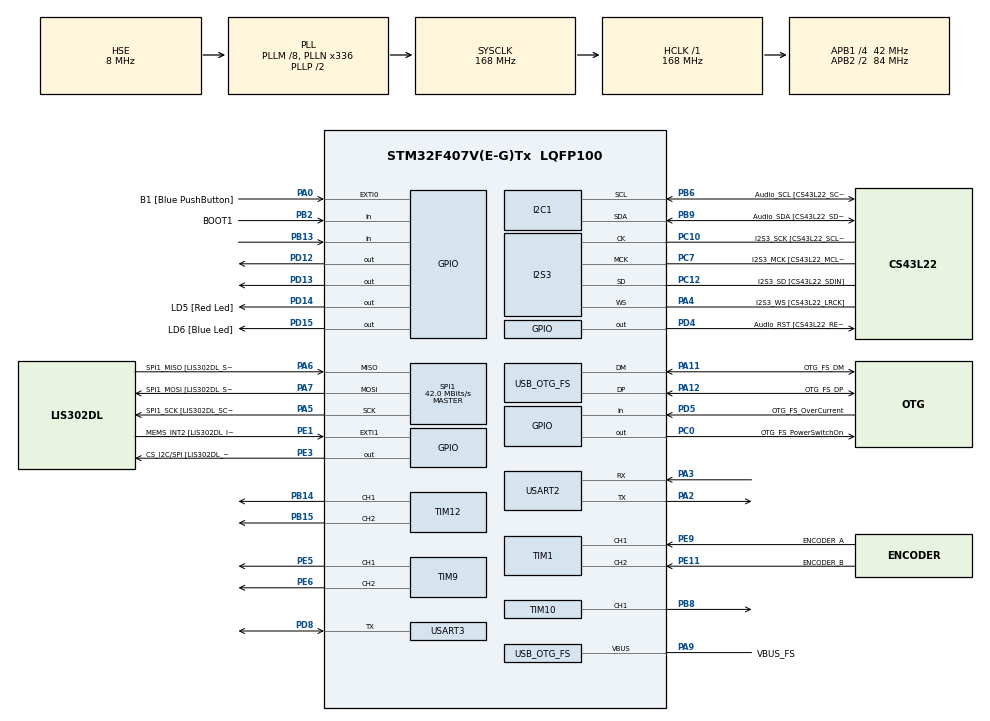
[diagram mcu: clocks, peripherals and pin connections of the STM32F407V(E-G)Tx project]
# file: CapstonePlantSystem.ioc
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I2S3.AudioFreq-Half_Duplex_Master=I2S_AUDIOFREQ_96K
I2S3.ErrorAudioFreq=-2.34 %
I2S3.ErrorAudioFreq-Half_Duplex_Master=0.8 %
I2S3.FullDuplexMode=I2S_FULLDUPLEXMODE_DISABLE
I2S3.Instance=SPI$Index
I2S3.RealAudioFreq=93.75 KHz
I2S3.RealAudioFreq-Half_Duplex_Master=96.774 KHz
I2S3.VirtualMode=I2S_MODE_MASTER
Mcu.Family=STM32F4
Mcu.Name=STM32F407V(E-G)Tx
Mcu.Package=LQFP100
NVIC.OTG_FS_IRQn=true\:0\:0\:false\:false\:true\:true\:true\:true
NVIC.PriorityGroup=NVIC_PRIORITYGROUP_0
NVIC.TIM3_IRQn=true\:0\:0\:false\:false\:true\:true\:true\:true
PA0-WKUP.GPIO_Label=B1 [Blue PushButton]
PA0-WKUP.GPIO_ModeDefaultEXTI=GPIO_MODE_EVT_RISING
PA0-WKUP.GPIO_PuPd=GPIO_NOPULL
PA0-WKUP.Signal=GPXTI0
PA10.GPIO_Label=OTG_FS_ID
PA10.GPIO_Mode=GPIO_MODE_AF_PP
PA10.GPIO_PuPd=GPIO_NOPULL
PA10.GPIO_Speed=GPIO_SPEED_FREQ_LOW
PA10.Signal=USB_OTG_FS_ID
PA11.GPIO_Label=OTG_FS_DM
PA11.GPIO_Mode=GPIO_MODE_AF_PP
PA11.GPIO_PuPd=GPIO_NOPULL
PA11.GPIO_Speed=GPIO_SPEED_FREQ_LOW
PA11.Mode=Host_Only
PA11.Signal=USB_OTG_FS_DM
PA12.GPIO_Label=OTG_FS_DP
PA12.GPIO_Mode=GPIO_MODE_AF_PP
PA12.GPIO_PuPd=GPIO_NOPULL
PA12.GPIO_Speed=GPIO_SPEED_FREQ_LOW
PA12.Mode=Host_Only
PA12.Signal=USB_OTG_FS_DP
PA13.GPIO_Label=SWDIO
PA13.Mode=Serial_Wire
PA13.Signal=SYS_JTMS-SWDIO
PA14.GPIO_Label=SWCLK
PA14.Mode=Serial_Wire
PA14.Signal=SYS_JTCK-SWCLK
PA2.Mode=Asynchronous
PA2.Signal=USART2_TX
PA3.Mode=Asynchronous
PA3.Signal=USART2_RX
PA4.GPIO_Label=I2S3_WS [CS43L22_LRCK]
PA4.GPIO_Mode=GPIO_MODE_AF_PP
PA4.GPIO_PuPd=GPIO_NOPULL
PA4.GPIO_Speed=GPIO_SPEED_FREQ_LOW
PA4.Mode=Half_Duplex_Master
PA4.Signal=I2S3_WS
PA5.GPIO_Label=SPI1_SCK [LIS302DL_SCL/SPC]
PA5.GPIO_Mode=GPIO_MODE_AF_PP
PA5.GPIO_PuPd=GPIO_NOPULL
PA5.GPIO_Speed=GPIO_SPEED_FREQ_LOW
PA5.Mode=Full_Duplex_Master
PA5.Signal=SPI1_SCK
PA6.GPIO_Label=SPI1_MISO [LIS302DL_SDO]
PA6.GPIO_Mode=GPIO_MODE_AF_PP
PA6.GPIO_PuPd=GPIO_NOPULL
PA6.GPIO_Speed=GPIO_SPEED_FREQ_LOW
PA6.Mode=Full_Duplex_Master
PA6.Signal=SPI1_MISO
PA7.GPIO_Label=SPI1_MOSI [LIS302DL_SDA/SDI/SDO]
PA7.GPIO_Mode=GPIO_MODE_AF_PP
PA7.GPIO_PuPd=GPIO_NOPULL
PA7.GPIO_Speed=GPIO_SPEED_FREQ_LOW
PA7.Mode=Full_Duplex_Master
PA7.Signal=SPI1_MOSI
PA9.GPIO_Label=VBUS_FS
PA9.GPIO_Mode=GPIO_MODE_INPUT
PA9.GPIO_PuPd=GPIO_NOPULL
PA9.Mode=Activate_VBUS
PA9.Signal=USB_OTG_FS_VBUS
PB10.GPIO_Label=CLK_IN [MP45DT02_CLK]
PB10.GPIO_Mode=GPIO_MODE_AF_PP
PB10.GPIO_PuPd=GPIO_NOPULL
PB10.GPIO_Speed=GPIO_SPEED_FREQ_LOW
PB10.Signal=I2S2_CK
PB13.Signal=GPIO_Input
PB14.Signal=S_TIM12_CH1
PB15.Signal=S_TIM12_CH2
PB2.GPIO_Label=BOOT1
PB2.GPIO_Mode=GPIO_MODE_INPUT
PB2.GPIO_PuPd=GPIO_NOPULL
PB2.Signal=GPIO_Input
PB3.GPIO_Label=SWO
PB3.Signal=SYS_JTDO-SWO
PB6.GPIO_Label=Audio_SCL [CS43L22_SCL]
PB6.GPIO_Mode=GPIO_MODE_AF_OD
PB6.GPIO_Pu=GPIO_PULLUP
PB6.GPIO_PuPd=GPIO_NOPULL
PB6.GPIO_Speed=GPIO_SPEED_FREQ_LOW
PB6.Mode=I2C
PB6.Signal=I2C1_SCL
PB8.Signal=S_TIM10_CH1
PB9.GPIO_Label=Audio_SDA [CS43L22_SDA]
PB9.GPIO_Mode=GPIO_MODE_AF_OD
PB9.GPIO_Pu=GPIO_PULLUP
PB9.GPIO_PuPd=GPIO_NOPULL
PB9.GPIO_Speed=GPIO_SPEED_FREQ_LOW
PB9.Mode=I2C
PB9.Signal=I2C1_SDA
PC0.GPIO_Label=OTG_FS_PowerSwitchOn
PC0.GPIO_PuPd=GPIO_NOPULL
PC0.GPIO_Speed=GPIO_SPEED_FREQ_LOW
PC0.PinState=GPIO_PIN_SET
PC0.Signal=GPIO_Output
PC10.GPIO_Label=I2S3_SCK [CS43L22_SCLK]
PC10.GPIO_Mode=GPIO_MODE_AF_PP
PC10.GPIO_PuPd=GPIO_NOPULL
PC10.GPIO_Speed=GPIO_SPEED_FREQ_LOW
PC10.Mode=Half_Duplex_Master
PC10.Signal=I2S3_CK
PC12.GPIO_Label=I2S3_SD [CS43L22_SDIN]
PC12.GPIO_Mode=GPIO_MODE_AF_PP
PC12.GPIO_PuPd=GPIO_NOPULL
PC12.GPIO_Speed=GPIO_SPEED_FREQ_LOW
PC12.Mode=Half_Duplex_Master
PC12.Signal=I2S3_SD
PC14-OSC32_IN.GPIO_Label=PC14-OSC32_IN
PC14-OSC32_IN.Mode=LSE-External-Oscillator
PC14-OSC32_IN.Signal=RCC_OSC32_IN
PC15-OSC32_OUT.GPIO_Label=PC15-OSC32_OUT
PC15-OSC32_OUT.Mode=LSE-External-Oscillator
PC15-OSC32_OUT.Signal=RCC_OSC32_OUT
PC3.GPIO_Label=PDM_OUT [MP45DT02_DOUT]
PC3.GPIO_Mode=GPIO_MODE_AF_PP
PC3.GPIO_PuPd=GPIO_NOPULL
PC3.GPIO_Speed=GPIO_SPEED_FREQ_LOW
PC3.Signal=I2S2_SD
PC7.GPIO_Label=I2S3_MCK [CS43L22_MCLK]
PC7.GPIO_Mode=GPIO_MODE_AF_PP
PC7.GPIO_PuPd=GPIO_NOPULL
PC7.GPIO_Speed=GPIO_SPEED_FREQ_LOW
PC7.Mode=Master_Clock_Activated
PC7.Signal=I2S3_MCK
PD12.GPIO_Speed=GPIO_SPEED_FREQ_LOW
PD12.PinState=GPIO_PIN_RESET
PD12.Signal=GPIO_Output
PD13.PinState=GPIO_PIN_RESET
PD13.Signal=GPIO_Output
PD14.GPIO_Label=LD5 [Red Led]
PD14.GPIO_PuPd=GPIO_NOPULL
PD14.GPIO_Speed=GPIO_SPEED_FREQ_LOW
PD14.Signal=GPIO_Output
PD15.GPIO_Label=LD6 [Blue Led]
PD15.GPIO_PuPd=GPIO_NOPULL
PD15.GPIO_Speed=GPIO_SPEED_FREQ_LOW
PD15.Signal=GPIO_Output
PD4.GPIO_Label=Audio_RST [CS43L22_RESET]
PD4.GPIO_PuPd=GPIO_NOPULL
PD4.GPIO_Speed=GPIO_SPEED_FREQ_LOW
PD4.Signal=GPIO_Output
PD5.GPIO_Label=OTG_FS_OverCurrent
PD5.GPIO_Mode=GPIO_MODE_INPUT
PD5.GPIO_PuPd=GPIO_NOPULL
PD5.Signal=GPIO_Input
PD8.Mode=Half_duplex(single_wire_mode)
PD8.Signal=USART3_TX
PE1.GPIO_Label=MEMS_INT2 [LIS302DL_INT2]
PE1.GPIO_ModeDefaultEXTI=GPIO_MODE_EVT_RISING
PE1.GPIO_PuPd=GPIO_NOPULL
PE1.Signal=GPXTI1
PE11.GPIO_Label=ENCODER_B
PE11.GPIO_Speed=GPIO_SPEED_FREQ_VERY_HIGH
PE11.Signal=S_TIM1_CH2
PE3.GPIO_Label=CS_I2C/SPI [LIS302DL_CS_I2C/SPI]
PE3.GPIO_PuPd=GPIO_NOPULL
PE3.GPIO_Speed=GPIO_SPEED_FREQ_LOW
PE3.Signal=GPIO_Output
PE5.Signal=S_TIM9_CH1
PE6.Signal=S_TIM9_CH2
PE9.GPIO_Label=ENCODER_A
PE9.GPIO_Speed=GPIO_SPEED_FREQ_VERY_HIGH
PE9.Signal=S_TIM1_CH1
PH0-OSC_IN.GPIO_Label=PH0-OSC_IN
PH0-OSC_IN.Mode=HSE-External-Oscillator
PH0-OSC_IN.Signal=RCC_OSC_IN
PH1-OSC_OUT.GPIO_Label=PH1-OSC_OUT
PH1-OSC_OUT.Mode=HSE-External-Oscillator
PH1-OSC_OUT.Signal=RCC_OSC_OUT
ProjectManager.HeapSize=0x200
ProjectManager.StackSize=0x400
ProjectManager.TargetToolchain=STM32CubeIDE
RCC.48MHZClocksFreq_Value=48000000
RCC.AHBFreq_Value=168000000
RCC.APB1CLKDivider=RCC_HCLK_DIV4
RCC.APB1Freq_Value=42000000
RCC.APB1TimFreq_Value=84000000
RCC.APB2CLKDivider=RCC_HCLK_DIV2
RCC.APB2Freq_Value=84000000
RCC.APB2TimFreq_Value=168000000
RCC.CortexFreq_Value=168000000
RCC.HCLKFreq_Value=168000000
RCC.HSE_VALUE=8000000
RCC.HSI_VALUE=16000000
RCC.PLLM=8
RCC.PLLN=336
RCC.PLLQ=7
RCC.SYSCLKFreq_VALUE=168000000
RCC.SYSCLKSource=RCC_SYSCLKSOURCE_PLLCLK
RCC.VCOOutputFreq_Value=336000000
SH.S_TIM10_CH1.0=TIM10_CH1,PWM Generation1 CH1
SH.S_TIM12_CH1.0=TIM12_CH1,PWM Generation1 CH1
SH.S_TIM12_CH2.0=TIM12_CH2,PWM Generation2 CH2
SH.S_TIM1_CH1.0=TIM1_CH1,Encoder_Interface
SH.S_TIM1_CH2.0=TIM1_CH2,Encoder_Interface
SH.S_TIM9_CH1.0=TIM9_CH1,PWM Generation1 CH1
SH.S_TIM9_CH2.0=TIM9_CH2,PWM Generation2 CH2
SPI1.CalculateBaudRate=42.0 MBits/s
SPI1.Direction=SPI_DIRECTION_2LINES
SPI1.Mode=SPI_MODE_MASTER
SPI1.VirtualType=VM_MASTER
TIM1.AutoReloadPreload=TIM_AUTORELOAD_PRELOAD_ENABLE
TIM1.EncoderMode=TIM_ENCODERMODE_TI12
TIM1.IC1Filter=10
TIM1.IC2Filter=10
TIM10.Channel=TIM_CHANNEL_1
TIM12.Channel-PWM\ Generation1\ CH1=TIM_CHANNEL_1
TIM12.Channel-PWM\ Generation2\ CH2=TIM_CHANNEL_2
TIM3.Period=99
TIM3.Prescaler=8399
TIM9.Channel-PWM\ Generation1\ CH1=TIM_CHANNEL_1
TIM9.Channel-PWM\ Generation2\ CH2=TIM_CHANNEL_2
USART2.VirtualMode=VM_ASYNC
USART3.VirtualMode=VM_ASYNC
USB_HOST.BSP.number=1
USB_HOST.USBH_HandleTypeDef-CDC_FS=hUsbHostFS
USB_HOST.VirtualModeFS=Cdc
USB_HOST0.BSP.STBoard=false
USB_HOST0.BSP.api=Unknown
USB_HOST0.BSP.instance=PC0
USB_HOST0.BSP.ip=GPIO
USB_HOST0.BSP.mode=Output
USB_HOST0.BSP.name=Drive_VBUS_FS
USB_HOST0.BSP.solution=PC0
USB_OTG_FS.VirtualMode=Host_Only
USB_OTG_FS.phy_itface=HCD_PHY_EMBEDDED
VP_TIM10_VS_ClockSourceINT.Mode=Enable_Timer
VP_TIM3_VS_ClockSourceITR.Mode=TriggerSource_ITR0
VP_TIM3_VS_ControllerModeClock.Mode=Clock Mode
VP_USB_HOST_VS_USB_HOST_CDC_FS.Mode=CDC_FS
board=STM32F407G-DISC1

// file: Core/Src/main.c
/* USER CODE BEGIN Header */
/**
  ******************************************************************************
  * @file           : main.c
  * @brief          : Main program body
  ******************************************************************************
  * @attention
  *
  * Copyright (c) 2025 STMicroelectronics.
  * All rights reserved.
  *
  * This software is licensed under terms that can be found in the LICENSE file
  * in the root directory of this software component.
  * If no LICENSE file comes with this software, it is provided AS-IS.
  *
  ******************************************************************************
  */
/* USER CODE END Header */
#include "main.h"
#include "usb_host.h"

/* USER CODE BEGIN Includes */
#include <stdio.h>
#include <string.h>
#include <math.h>
#include "tmc2209.h"
/* USER CODE END Includes */

I2C_HandleTypeDef hi2c1;

I2S_HandleTypeDef hi2s3;

SPI_HandleTypeDef hspi1;

TIM_HandleTypeDef htim1;
TIM_HandleTypeDef htim3;
TIM_HandleTypeDef htim9;
TIM_HandleTypeDef htim10;
TIM_HandleTypeDef htim12;

UART_HandleTypeDef huart2;
UART_HandleTypeDef huart3;

/* USER CODE BEGIN PV */
#define WHEEL_RADIUS_CM 30.0
#define GEAR_RATIO 30.0
#define ENCODER_PULSES_PER_REVOLUTION 330.0
#define TARGET_DISTANCE_CM 400.0 // 4 meters in cm

#define STEPS_PER_REV        200     // Motor full steps per rev
#define MICROSTEPPING        16      // Set in CHOPCONF
#define LEADSCREW_PITCH_MM   2.0f    // mm per revolution
#define STEPS_PER_MM  ((STEPS_PER_REV * MICROSTEPPING) / LEADSCREW_PITCH_MM)

#define DIR_PORT             GPIOD
#define DIR_PIN              GPIO_PIN_13

#define STEP_PULSE_FREQ_HZ   1000    // 1 kHz = 1000 steps/sec
#define MOTOR2_DEFAULT_OFFSET 0    // Adjust this based on your motor characteristics
#define MAX_SPEED_OFFSET 20        // Maximum allowed offset to prevent extreme differences

typedef enum {
    STATE_DC_FORWARD,
    STATE_STEPPER_DOWN_UP,
    STATE_DC_BACKWARD,
    STATE_STEPPER_RETURN
} SystemState;

SystemState currentState = STATE_DC_FORWARD;
uint32_t stepper_start_time = 0;
uint8_t stepper_running = 0;

typedef enum {
    STEPPER_IDLE,
    STEPPER_MOVING_DOWN,
    STEPPER_MOVING_UP
} StepperPhase;

StepperPhase stepperPhase = STEPPER_IDLE;

uint8_t motor1_speed = 0;
uint8_t motor2_speed = 0;
uint8_t motor1_direction = 0;
uint8_t motor2_direction = 0;
int8_t motor2_offset = 0;  // Speed offset for motor 2 (-100 to +100)

/* USER CODE END PV */

void SystemClock_Config(void);
static void MX_GPIO_Init(void);
static void MX_I2C1_Init(void);
static void MX_I2S3_Init(void);
static void MX_USART2_UART_Init(void);
static void MX_TIM3_Init(void);
static void MX_SPI1_Init(void);
static void MX_TIM1_Init(void);
static void MX_TIM9_Init(void);
static void MX_USART3_UART_Init(void);
static void MX_TIM10_Init(void);
static void MX_TIM12_Init(void);
void MX_USB_HOST_Process(void);

/* USER CODE BEGIN PFP */
void Encoder_Init(void);
int32_t Encoder_GetPosition(void);
void Encoder_ResetPosition(void);
float CalculateTravelDistance(int32_t encoderCounts);
void Motor_PWM_Init(void);
// Enhanced motor control functions with offset
void Motor1_SetSpeedAndDirection(uint8_t speed, uint8_t direction);
void Motor2_SetSpeedAndDirection(uint8_t speed, uint8_t direction);
void Motors_SetSynchronizedSpeed(uint8_t speed, uint8_t direction);
void Motors_SetSynchronizedSpeedWithOffset(uint8_t base_speed, uint8_t direction, int8_t motor2_offset);
void Motors_SetMotor2Offset(int8_t offset);
void Motors_Init(void);
void Motors_EmergencyStop(void);
void Motors_PrintStatus(void);

void Stepper_Init(void);
void Stepper_SetDirection(uint8_t dir);
void Stepper_Start(uint32_t duration_ms);

void Stepper_Update();

//void Stepper_MoveDistance_mm(float mm);

/* USER CODE END PFP */

int main(void)
{

  /* MCU Configuration--------------------------------------------------------*/

  /* Reset of all peripherals, Initializes the Flash interface and the Systick. */
  HAL_Init();

  /* Configure the system clock */
  SystemClock_Config();

  /* Initialize all configured peripherals */
  MX_GPIO_Init();
  MX_I2C1_Init();
  MX_I2S3_Init();
  MX_USB_HOST_Init();
  MX_USART2_UART_Init();
  MX_TIM3_Init();
  MX_SPI1_Init();
  MX_TIM1_Init();
  MX_TIM9_Init();
  MX_USART3_UART_Init();
  MX_TIM10_Init();
  MX_TIM12_Init();
  /* USER CODE BEGIN 2 */

  // Initialize the encoder
  Encoder_Init();
  Motor_PWM_Init();
  TMC2209_Init();  // 🛠️ Init TMC2209 driver
  Stepper_Init();
  HAL_GPIO_WritePin(GPIOD, GPIO_PIN_12, GPIO_PIN_RESET);  // Enable TMC2209
  HAL_Delay(100);  // wait for stable power

  int32_t encoderCounts = 0;
  float travelDistance = 0.0;

  /* USER CODE END 2 */

  /* Infinite loop */
  while (1)
  {
    MX_USB_HOST_Process();

    /* USER CODE BEGIN 3 */
	if (encoderCounts > 30000){
		 __HAL_TIM_SET_COUNTER(&htim1, 0);

	  }

	encoderCounts = Encoder_GetPosition();
	travelDistance = CalculateTravelDistance(encoderCounts);

	Stepper_Update();  // always call this

	   switch (currentState)
	   {
		   case STATE_DC_FORWARD:
			   Motors_SetSynchronizedSpeedWithOffset(50,0,motor2_offset);
			   if (travelDistance >= TARGET_DISTANCE_CM)
			   {
				   Motors_EmergencyStop();
				   currentState = STATE_STEPPER_DOWN_UP;
				   stepperPhase = STEPPER_IDLE;
			   }
			   break;

		   case STATE_STEPPER_DOWN_UP:
			   if (stepperPhase == STEPPER_IDLE)
			   {
				   Stepper_SetDirection(0);   // down
				   Stepper_Start(2000);
				   stepperPhase = STEPPER_MOVING_DOWN;
			   }
			   else if (stepperPhase == STEPPER_MOVING_DOWN && !stepper_running)
			   {
				   Stepper_SetDirection(1);   // up
				   Stepper_Start(2000);
				   stepperPhase = STEPPER_MOVING_UP;
			   }
			   else if (stepperPhase == STEPPER_MOVING_UP && !stepper_running)
			   {
				   stepperPhase = STEPPER_IDLE;
				   currentState = STATE_DC_BACKWARD;
			   }
			   break;

		   case STATE_DC_BACKWARD:
			   Motors_SetSynchronizedSpeedWithOffset(50,1,motor2_offset);
			   if (travelDistance <= 0.0)
			   {
				   Motors_EmergencyStop();
				   currentState = STATE_STEPPER_RETURN;
				   stepperPhase = STEPPER_IDLE;
			   }
			   break;

		   case STATE_STEPPER_RETURN:
			   if (stepperPhase == STEPPER_IDLE)
			   {
				   Stepper_SetDirection(0);   // down
				   Stepper_Start(2000);
				   stepperPhase = STEPPER_MOVING_DOWN;
			   }
			   else if (stepperPhase == STEPPER_MOVING_DOWN && !stepper_running)
			   {
				   Stepper_SetDirection(1);   // up
				   Stepper_Start(2000);
				   stepperPhase = STEPPER_MOVING_UP;
			   }
			   else if (stepperPhase == STEPPER_MOVING_UP && !stepper_running)
			   {
				   stepperPhase = STEPPER_IDLE;
				   currentState = STATE_DC_FORWARD;  // Loop again
			   }
			   break;
	   }

    // Print status every 10 cycles (1 second)
    static uint8_t print_counter = 0;
    if (++print_counter >= 10)
    {
        Motors_PrintStatus();
        printf("Raw Encoder Counts: %ld\r\n", encoderCounts);
        printf("Travel Distance: %.2f cm\r\n", travelDistance);
        print_counter = 0;
    }

    // Add a small delay
    HAL_Delay(100);
  }
  /* USER CODE END 3 */
}

void SystemClock_Config(void)
{
  RCC_OscInitTypeDef RCC_OscInitStruct = {0};
  RCC_ClkInitTypeDef RCC_ClkInitStruct = {0};

  /** Configure the main internal regulator output voltage
  */
  __HAL_RCC_PWR_CLK_ENABLE();
  __HAL_PWR_VOLTAGESCALING_CONFIG(PWR_REGULATOR_VOLTAGE_SCALE1);

  /** Initializes the RCC Oscillators according to the specified parameters
  * in the RCC_OscInitTypeDef structure.
  */
  RCC_OscInitStruct.OscillatorType = RCC_OSCILLATORTYPE_HSE;
  RCC_OscInitStruct.HSEState = RCC_HSE_ON;
  RCC_OscInitStruct.PLL.PLLState = RCC_PLL_ON;
  RCC_OscInitStruct.PLL.PLLSource = RCC_PLLSOURCE_HSE;
  RCC_OscInitStruct.PLL.PLLM = 8;
  RCC_OscInitStruct.PLL.PLLN = 336;
  RCC_OscInitStruct.PLL.PLLP = RCC_PLLP_DIV2;
  RCC_OscInitStruct.PLL.PLLQ = 7;
  if (HAL_RCC_OscConfig(&RCC_OscInitStruct) != HAL_OK)
  {
    Error_Handler();
  }

  /** Initializes the CPU, AHB and APB buses clocks
  */
  RCC_ClkInitStruct.ClockType = RCC_CLOCKTYPE_HCLK|RCC_CLOCKTYPE_SYSCLK
                              |RCC_CLOCKTYPE_PCLK1|RCC_CLOCKTYPE_PCLK2;
  RCC_ClkInitStruct.SYSCLKSource = RCC_SYSCLKSOURCE_PLLCLK;
  RCC_ClkInitStruct.AHBCLKDivider = RCC_SYSCLK_DIV1;
  RCC_ClkInitStruct.APB1CLKDivider = RCC_HCLK_DIV4;
  RCC_ClkInitStruct.APB2CLKDivider = RCC_HCLK_DIV2;

  if (HAL_RCC_ClockConfig(&RCC_ClkInitStruct, FLASH_LATENCY_5) != HAL_OK)
  {
    Error_Handler();
  }
}

static void MX_I2C1_Init(void)
{

  hi2c1.Instance = I2C1;
  hi2c1.Init.ClockSpeed = 100000;
  hi2c1.Init.DutyCycle = I2C_DUTYCYCLE_2;
  hi2c1.Init.OwnAddress1 = 0;
  hi2c1.Init.AddressingMode = I2C_ADDRESSINGMODE_7BIT;
  hi2c1.Init.DualAddressMode = I2C_DUALADDRESS_DISABLE;
  hi2c1.Init.OwnAddress2 = 0;
  hi2c1.Init.GeneralCallMode = I2C_GENERALCALL_DISABLE;
  hi2c1.Init.NoStretchMode = I2C_NOSTRETCH_DISABLE;
  if (HAL_I2C_Init(&hi2c1) != HAL_OK)
  {
    Error_Handler();
  }

}

static void MX_I2S3_Init(void)
{

  hi2s3.Instance = SPI3;
  hi2s3.Init.Mode = I2S_MODE_MASTER_TX;
  hi2s3.Init.Standard = I2S_STANDARD_PHILIPS;
  hi2s3.Init.DataFormat = I2S_DATAFORMAT_16B;
  hi2s3.Init.MCLKOutput = I2S_MCLKOUTPUT_ENABLE;
  hi2s3.Init.AudioFreq = I2S_AUDIOFREQ_96K;
  hi2s3.Init.CPOL = I2S_CPOL_LOW;
  hi2s3.Init.ClockSource = I2S_CLOCK_PLL;
  hi2s3.Init.FullDuplexMode = I2S_FULLDUPLEXMODE_DISABLE;
  if (HAL_I2S_Init(&hi2s3) != HAL_OK)
  {
    Error_Handler();
  }

}

static void MX_SPI1_Init(void)
{

  /* SPI1 parameter configuration*/
  hspi1.Instance = SPI1;
  hspi1.Init.Mode = SPI_MODE_MASTER;
  hspi1.Init.Direction = SPI_DIRECTION_2LINES;
  hspi1.Init.DataSize = SPI_DATASIZE_8BIT;
  hspi1.Init.CLKPolarity = SPI_POLARITY_LOW;
  hspi1.Init.CLKPhase = SPI_PHASE_1EDGE;
  hspi1.Init.NSS = SPI_NSS_SOFT;
  hspi1.Init.BaudRatePrescaler = SPI_BAUDRATEPRESCALER_2;
  hspi1.Init.FirstBit = SPI_FIRSTBIT_MSB;
  hspi1.Init.TIMode = SPI_TIMODE_DISABLE;
  hspi1.Init.CRCCalculation = SPI_CRCCALCULATION_DISABLE;
  hspi1.Init.CRCPolynomial = 10;
  if (HAL_SPI_Init(&hspi1) != HAL_OK)
  {
    Error_Handler();
  }

}

static void MX_TIM1_Init(void)
{

  TIM_Encoder_InitTypeDef sConfig = {0};
  TIM_MasterConfigTypeDef sMasterConfig = {0};

  htim1.Instance = TIM1;
  htim1.Init.Prescaler = 0;
  htim1.Init.CounterMode = TIM_COUNTERMODE_UP;
  htim1.Init.Period = 65535;
  htim1.Init.ClockDivision = TIM_CLOCKDIVISION_DIV1;
  htim1.Init.RepetitionCounter = 0;
  htim1.Init.AutoReloadPreload = TIM_AUTORELOAD_PRELOAD_ENABLE;
  sConfig.EncoderMode = TIM_ENCODERMODE_TI12;
  sConfig.IC1Polarity = TIM_ICPOLARITY_RISING;
  sConfig.IC1Selection = TIM_ICSELECTION_DIRECTTI;
  sConfig.IC1Prescaler = TIM_ICPSC_DIV1;
  sConfig.IC1Filter = 10;
  sConfig.IC2Polarity = TIM_ICPOLARITY_RISING;
  sConfig.IC2Selection = TIM_ICSELECTION_DIRECTTI;
  sConfig.IC2Prescaler = TIM_ICPSC_DIV1;
  sConfig.IC2Filter = 10;
  if (HAL_TIM_Encoder_Init(&htim1, &sConfig) != HAL_OK)
  {
    Error_Handler();
  }
  sMasterConfig.MasterOutputTrigger = TIM_TRGO_RESET;
  sMasterConfig.MasterSlaveMode = TIM_MASTERSLAVEMODE_DISABLE;
  if (HAL_TIMEx_MasterConfigSynchronization(&htim1, &sMasterConfig) != HAL_OK)
  {
    Error_Handler();
  }

}

static void MX_TIM3_Init(void)
{

  TIM_SlaveConfigTypeDef sSlaveConfig = {0};
  TIM_MasterConfigTypeDef sMasterConfig = {0};

  htim3.Instance = TIM3;
  htim3.Init.Prescaler = 8399;
  htim3.Init.CounterMode = TIM_COUNTERMODE_UP;
  htim3.Init.Period = 99;
  htim3.Init.ClockDivision = TIM_CLOCKDIVISION_DIV1;
  htim3.Init.AutoReloadPreload = TIM_AUTORELOAD_PRELOAD_DISABLE;
  if (HAL_TIM_Base_Init(&htim3) != HAL_OK)
  {
    Error_Handler();
  }
  sSlaveConfig.SlaveMode = TIM_SLAVEMODE_EXTERNAL1;
  sSlaveConfig.InputTrigger = TIM_TS_ITR0;
  if (HAL_TIM_SlaveConfigSynchro(&htim3, &sSlaveConfig) != HAL_OK)
  {
    Error_Handler();
  }
  sMasterConfig.MasterOutputTrigger = TIM_TRGO_RESET;
  sMasterConfig.MasterSlaveMode = TIM_MASTERSLAVEMODE_DISABLE;
  if (HAL_TIMEx_MasterConfigSynchronization(&htim3, &sMasterConfig) != HAL_OK)
  {
    Error_Handler();
  }

}

static void MX_TIM9_Init(void)
{

  TIM_OC_InitTypeDef sConfigOC = {0};

  htim9.Instance = TIM9;
  htim9.Init.Prescaler = 0;
  htim9.Init.CounterMode = TIM_COUNTERMODE_UP;
  htim9.Init.Period = 65535;
  htim9.Init.ClockDivision = TIM_CLOCKDIVISION_DIV1;
  htim9.Init.AutoReloadPreload = TIM_AUTORELOAD_PRELOAD_DISABLE;
  if (HAL_TIM_PWM_Init(&htim9) != HAL_OK)
  {
    Error_Handler();
  }
  sConfigOC.OCMode = TIM_OCMODE_PWM1;
  sConfigOC.Pulse = 0;
  sConfigOC.OCPolarity = TIM_OCPOLARITY_HIGH;
  sConfigOC.OCFastMode = TIM_OCFAST_DISABLE;
  if (HAL_TIM_PWM_ConfigChannel(&htim9, &sConfigOC, TIM_CHANNEL_1) != HAL_OK)
  {
    Error_Handler();
  }
  if (HAL_TIM_PWM_ConfigChannel(&htim9, &sConfigOC, TIM_CHANNEL_2) != HAL_OK)
  {
    Error_Handler();
  }
  HAL_TIM_MspPostInit(&htim9);

}

static void MX_TIM10_Init(void)
{

  TIM_OC_InitTypeDef sConfigOC = {0};

  htim10.Instance = TIM10;
  htim10.Init.Prescaler = 0;
  htim10.Init.CounterMode = TIM_COUNTERMODE_UP;
  htim10.Init.Period = 65535;
  htim10.Init.ClockDivision = TIM_CLOCKDIVISION_DIV1;
  htim10.Init.AutoReloadPreload = TIM_AUTORELOAD_PRELOAD_DISABLE;
  if (HAL_TIM_Base_Init(&htim10) != HAL_OK)
  {
    Error_Handler();
  }
  if (HAL_TIM_PWM_Init(&htim10) != HAL_OK)
  {
    Error_Handler();
  }
  sConfigOC.OCMode = TIM_OCMODE_PWM1;
  sConfigOC.Pulse = 0;
  sConfigOC.OCPolarity = TIM_OCPOLARITY_HIGH;
  sConfigOC.OCFastMode = TIM_OCFAST_DISABLE;
  if (HAL_TIM_PWM_ConfigChannel(&htim10, &sConfigOC, TIM_CHANNEL_1) != HAL_OK)
  {
    Error_Handler();
  }
  HAL_TIM_MspPostInit(&htim10);

}

static void MX_TIM12_Init(void)
{

  TIM_OC_InitTypeDef sConfigOC = {0};

  htim12.Instance = TIM12;
  htim12.Init.Prescaler = 0;
  htim12.Init.CounterMode = TIM_COUNTERMODE_UP;
  htim12.Init.Period = 65535;
  htim12.Init.ClockDivision = TIM_CLOCKDIVISION_DIV1;
  htim12.Init.AutoReloadPreload = TIM_AUTORELOAD_PRELOAD_DISABLE;
  if (HAL_TIM_PWM_Init(&htim12) != HAL_OK)
  {
    Error_Handler();
  }
  sConfigOC.OCMode = TIM_OCMODE_PWM1;
  sConfigOC.Pulse = 0;
  sConfigOC.OCPolarity = TIM_OCPOLARITY_HIGH;
  sConfigOC.OCFastMode = TIM_OCFAST_DISABLE;
  if (HAL_TIM_PWM_ConfigChannel(&htim12, &sConfigOC, TIM_CHANNEL_1) != HAL_OK)
  {
    Error_Handler();
  }
  if (HAL_TIM_PWM_ConfigChannel(&htim12, &sConfigOC, TIM_CHANNEL_2) != HAL_OK)
  {
    Error_Handler();
  }
  HAL_TIM_MspPostInit(&htim12);

}

static void MX_USART2_UART_Init(void)
{

  huart2.Instance = USART2;
  huart2.Init.BaudRate = 115200;
  huart2.Init.WordLength = UART_WORDLENGTH_8B;
  huart2.Init.StopBits = UART_STOPBITS_1;
  huart2.Init.Parity = UART_PARITY_NONE;
  huart2.Init.Mode = UART_MODE_TX_RX;
  huart2.Init.HwFlowCtl = UART_HWCONTROL_NONE;
  huart2.Init.OverSampling = UART_OVERSAMPLING_16;
  if (HAL_UART_Init(&huart2) != HAL_OK)
  {
    Error_Handler();
  }

}

static void MX_USART3_UART_Init(void)
{

  huart3.Instance = USART3;
  huart3.Init.BaudRate = 115200;
  huart3.Init.WordLength = UART_WORDLENGTH_8B;
  huart3.Init.StopBits = UART_STOPBITS_1;
  huart3.Init.Parity = UART_PARITY_NONE;
  huart3.Init.Mode = UART_MODE_TX_RX;
  huart3.Init.HwFlowCtl = UART_HWCONTROL_NONE;
  huart3.Init.OverSampling = UART_OVERSAMPLING_16;
  if (HAL_HalfDuplex_Init(&huart3) != HAL_OK)
  {
    Error_Handler();
  }

}

static void MX_GPIO_Init(void)
{
  GPIO_InitTypeDef GPIO_InitStruct = {0};

  /* GPIO Ports Clock Enable */
  __HAL_RCC_GPIOE_CLK_ENABLE();
  __HAL_RCC_GPIOC_CLK_ENABLE();
  __HAL_RCC_GPIOH_CLK_ENABLE();
  __HAL_RCC_GPIOA_CLK_ENABLE();
  __HAL_RCC_GPIOB_CLK_ENABLE();
  __HAL_RCC_GPIOD_CLK_ENABLE();

  /*Configure GPIO pin Output Level */
  HAL_GPIO_WritePin(CS_I2C_SPI_GPIO_Port, CS_I2C_SPI_Pin, GPIO_PIN_RESET);

  /*Configure GPIO pin Output Level */
  HAL_GPIO_WritePin(OTG_FS_PowerSwitchOn_GPIO_Port, OTG_FS_PowerSwitchOn_Pin, GPIO_PIN_SET);

  /*Configure GPIO pin Output Level */
  HAL_GPIO_WritePin(GPIOD, GPIO_PIN_12|GPIO_PIN_13|LD5_Pin|LD6_Pin
                          |Audio_RST_Pin, GPIO_PIN_RESET);

  /*Configure GPIO pin : CS_I2C_SPI_Pin */
  GPIO_InitStruct.Pin = CS_I2C_SPI_Pin;
  GPIO_InitStruct.Mode = GPIO_MODE_OUTPUT_PP;
  GPIO_InitStruct.Pull = GPIO_NOPULL;
  GPIO_InitStruct.Speed = GPIO_SPEED_FREQ_LOW;
  HAL_GPIO_Init(CS_I2C_SPI_GPIO_Port, &GPIO_InitStruct);

  /*Configure GPIO pin : OTG_FS_PowerSwitchOn_Pin */
  GPIO_InitStruct.Pin = OTG_FS_PowerSwitchOn_Pin;
  GPIO_InitStruct.Mode = GPIO_MODE_OUTPUT_PP;
  GPIO_InitStruct.Pull = GPIO_NOPULL;
  GPIO_InitStruct.Speed = GPIO_SPEED_FREQ_LOW;
  HAL_GPIO_Init(OTG_FS_PowerSwitchOn_GPIO_Port, &GPIO_InitStruct);

  /*Configure GPIO pin : PDM_OUT_Pin */
  GPIO_InitStruct.Pin = PDM_OUT_Pin;
  GPIO_InitStruct.Mode = GPIO_MODE_AF_PP;
  GPIO_InitStruct.Pull = GPIO_NOPULL;
  GPIO_InitStruct.Speed = GPIO_SPEED_FREQ_LOW;
  GPIO_InitStruct.Alternate = GPIO_AF5_SPI2;
  HAL_GPIO_Init(PDM_OUT_GPIO_Port, &GPIO_InitStruct);

  /*Configure GPIO pin : B1_Pin */
  GPIO_InitStruct.Pin = B1_Pin;
  GPIO_InitStruct.Mode = GPIO_MODE_EVT_RISING;
  GPIO_InitStruct.Pull = GPIO_NOPULL;
  HAL_GPIO_Init(B1_GPIO_Port, &GPIO_InitStruct);

  /*Configure GPIO pins : BOOT1_Pin PB13 */
  GPIO_InitStruct.Pin = BOOT1_Pin|GPIO_PIN_13;
  GPIO_InitStruct.Mode = GPIO_MODE_INPUT;
  GPIO_InitStruct.Pull = GPIO_NOPULL;
  HAL_GPIO_Init(GPIOB, &GPIO_InitStruct);

  /*Configure GPIO pin : CLK_IN_Pin */
  GPIO_InitStruct.Pin = CLK_IN_Pin;
  GPIO_InitStruct.Mode = GPIO_MODE_AF_PP;
  GPIO_InitStruct.Pull = GPIO_NOPULL;
  GPIO_InitStruct.Speed = GPIO_SPEED_FREQ_LOW;
  GPIO_InitStruct.Alternate = GPIO_AF5_SPI2;
  HAL_GPIO_Init(CLK_IN_GPIO_Port, &GPIO_InitStruct);

  /*Configure GPIO pins : PD12 PD13 LD5_Pin LD6_Pin
                           Audio_RST_Pin */
  GPIO_InitStruct.Pin = GPIO_PIN_12|GPIO_PIN_13|LD5_Pin|LD6_Pin
                          |Audio_RST_Pin;
  GPIO_InitStruct.Mode = GPIO_MODE_OUTPUT_PP;
  GPIO_InitStruct.Pull = GPIO_NOPULL;
  GPIO_InitStruct.Speed = GPIO_SPEED_FREQ_LOW;
  HAL_GPIO_Init(GPIOD, &GPIO_InitStruct);

  /*Configure GPIO pin : OTG_FS_OverCurrent_Pin */
  GPIO_InitStruct.Pin = OTG_FS_OverCurrent_Pin;
  GPIO_InitStruct.Mode = GPIO_MODE_INPUT;
  GPIO_InitStruct.Pull = GPIO_NOPULL;
  HAL_GPIO_Init(OTG_FS_OverCurrent_GPIO_Port, &GPIO_InitStruct);

  /*Configure GPIO pin : MEMS_INT2_Pin */
  GPIO_InitStruct.Pin = MEMS_INT2_Pin;
  GPIO_InitStruct.Mode = GPIO_MODE_EVT_RISING;
  GPIO_InitStruct.Pull = GPIO_NOPULL;
  HAL_GPIO_Init(MEMS_INT2_GPIO_Port, &GPIO_InitStruct);

}

/* USER CODE BEGIN 4 */
// Function to initialize PWM
void Motor_PWM_Init(void)
{
    // Initialize TIM9 for Motor 1
    HAL_TIM_Base_Start(&htim9);
    HAL_TIM_PWM_Start(&htim9, TIM_CHANNEL_1);
    HAL_TIM_PWM_Start(&htim9, TIM_CHANNEL_2);

    // Initialize TIM12 for Motor 2
    HAL_TIM_Base_Start(&htim12);
    HAL_TIM_PWM_Start(&htim12, TIM_CHANNEL_1);
    HAL_TIM_PWM_Start(&htim12, TIM_CHANNEL_2);
    // Initialize variables
    motor1_speed = 0;
    motor2_speed = 0;
    motor1_direction = 0;
    motor2_direction = 0;
    motor2_offset = 0;
}

// Function to set motor speed (0-100%)

void Motor1_SetSpeedAndDirection(uint8_t speed, uint8_t direction)
{
    if (speed > 100) speed = 100;

    if (direction == 0) // Forward
    {
        __HAL_TIM_SET_COMPARE(&htim9, TIM_CHANNEL_1, speed * (htim9.Init.Period + 1) / 100);
        __HAL_TIM_SET_COMPARE(&htim9, TIM_CHANNEL_2, 0);
    }
    else // Reverse
    {
        __HAL_TIM_SET_COMPARE(&htim9, TIM_CHANNEL_1, 0);
        __HAL_TIM_SET_COMPARE(&htim9, TIM_CHANNEL_2, speed * (htim9.Init.Period + 1) / 100);
    }

    motor1_speed = speed;
    motor1_direction = direction;
}

// Control Motor 2 independently
void Motor2_SetSpeedAndDirection(uint8_t speed, uint8_t direction)
{
    if (speed > 100) speed = 100;

    if (direction == 0) // Forward
    {
        __HAL_TIM_SET_COMPARE(&htim12, TIM_CHANNEL_1, speed * (htim12.Init.Period + 1) / 100);
        __HAL_TIM_SET_COMPARE(&htim12, TIM_CHANNEL_2, 0);
    }
    else // Reverse
    {
        __HAL_TIM_SET_COMPARE(&htim12, TIM_CHANNEL_1, 0);
        __HAL_TIM_SET_COMPARE(&htim12, TIM_CHANNEL_2, speed * (htim12.Init.Period + 1) / 100);
    }

    motor2_speed = speed;
    motor2_direction = direction;
}

// Synchronized control with offset for fine-tuning
void Motors_SetSynchronizedSpeedWithOffset(uint8_t base_speed, uint8_t direction, int8_t motor2_offset)
{
    // Calculate motor 2 speed with offset
    int16_t motor2_speed_calc = base_speed + motor2_offset;

    // Clamp motor 2 speed to valid range
    if (motor2_speed_calc > 100) motor2_speed_calc = 100;
    if (motor2_speed_calc < 0) motor2_speed_calc = 0;

    uint8_t motor2_speed_final = (uint8_t)motor2_speed_calc;

    // Set both motors
    Motor1_SetSpeedAndDirection(base_speed, direction);
    Motor2_SetSpeedAndDirection(motor2_speed_final, direction);

    // Store the current offset
    motor2_offset = motor2_offset;
}

void Motors_SetMotor2Offset(int8_t offset)
{
    // Clamp offset to reasonable range
    if (offset > MAX_SPEED_OFFSET) offset = MAX_SPEED_OFFSET;
    if (offset < -MAX_SPEED_OFFSET) offset = -MAX_SPEED_OFFSET;

    motor2_offset = offset;

    // If motors are currently running, update them with new offset
    if (motor1_speed > 0 || motor2_speed > 0)
    {
        Motors_SetSynchronizedSpeedWithOffset(motor1_speed, motor1_direction, motor2_offset);
    }
}
// Standard synchronized control (uses current offset)
void Motors_SetSynchronizedSpeed(uint8_t speed, uint8_t direction)
{
    Motors_SetSynchronizedSpeedWithOffset(speed, direction, motor2_offset);
}

void Motors_EmergencyStop(void)
{
    Motor1_SetSpeedAndDirection(0, 0);
    Motor2_SetSpeedAndDirection(0, 0);
}
// Print motor status for debugging
void Motors_PrintStatus(void)
{
    printf("Motor Status - M1: %d%% %s, M2: %d%% %s (Offset: %+d)\r\n",
           motor1_speed,
           motor1_direction ? "REV" : "FWD",
           motor2_speed,
           motor2_direction ? "REV" : "FWD",
           motor2_offset);
}

void Stepper_Init() {
    // Set DIR pin (PD13) as output in CubeMX or here manually
    HAL_TIM_Base_Start(&htim10);
    // Start PWM for STEP generation
    HAL_TIM_PWM_Start(&htim10, TIM_CHANNEL_1);
    HAL_GPIO_WritePin(DIR_PORT, DIR_PIN, GPIO_PIN_RESET);  // Default direction
}
void Stepper_SetDirection(uint8_t dir) {
    HAL_GPIO_WritePin(DIR_PORT, DIR_PIN, dir ? GPIO_PIN_SET : GPIO_PIN_RESET);
}

void Stepper_Start(uint32_t duration_ms)
{
    __HAL_TIM_SET_COMPARE(&htim10, TIM_CHANNEL_1, 500);
    HAL_TIM_PWM_Start(&htim10, TIM_CHANNEL_1);

    stepper_start_time = HAL_GetTick();
    stepper_running = 1;
}

void Stepper_Update()
{
    if (stepper_running)
    {
        if (HAL_GetTick() - stepper_start_time >= 2000)
        {
            HAL_TIM_PWM_Stop(&htim10, TIM_CHANNEL_1);
            stepper_running = 0;
        }
    }
}

void Encoder_Init(void)
{
    // Start Timer 1 in encoder mode
    HAL_TIM_Encoder_Start(&htim1, TIM_CHANNEL_ALL);
    // Reset the counter to zero
    __HAL_TIM_SET_COUNTER(&htim1, 0);
}

int32_t Encoder_GetPosition(void)
{
    return __HAL_TIM_GET_COUNTER(&htim1);
}

void Encoder_ResetPosition(void)
{
    __HAL_TIM_SET_COUNTER(&htim1, 0);
    printf("Encoder position reset to 0\r\n");
}

// Auto-reset when encoder overflows (your current approach)
if (encoderCounts > 30000){
    __HAL_TIM_SET_COUNTER(&htim1, 0);
    printf("Encoder auto-reset at overflow\r\n");
}
float CalculateTravelDistance(int32_t encoderCounts)
{
    // Calculate the wheel circumference
    float wheelCircumference = 2 * M_PI * WHEEL_RADIUS_CM;

    // Calculate the number of wheel revolutions
    float wheelRevolutions = (float)encoderCounts / ENCODER_PULSES_PER_REVOLUTION / GEAR_RATIO;

    // Calculate the travel distance
    float travelDistance = wheelRevolutions * wheelCircumference;

    return travelDistance; // Distance in cm
}
int _write(int file, char *ptr, int len)
{
  (void)file;
  int DataIdx;

  for (DataIdx = 0; DataIdx < len; DataIdx++)
  {
    ITM_SendChar(*ptr++);
  }
  return len;
}
/* USER CODE END 4 */

void Error_Handler(void)
{
  __disable_irq();
  while (1)
  {
  }
}
